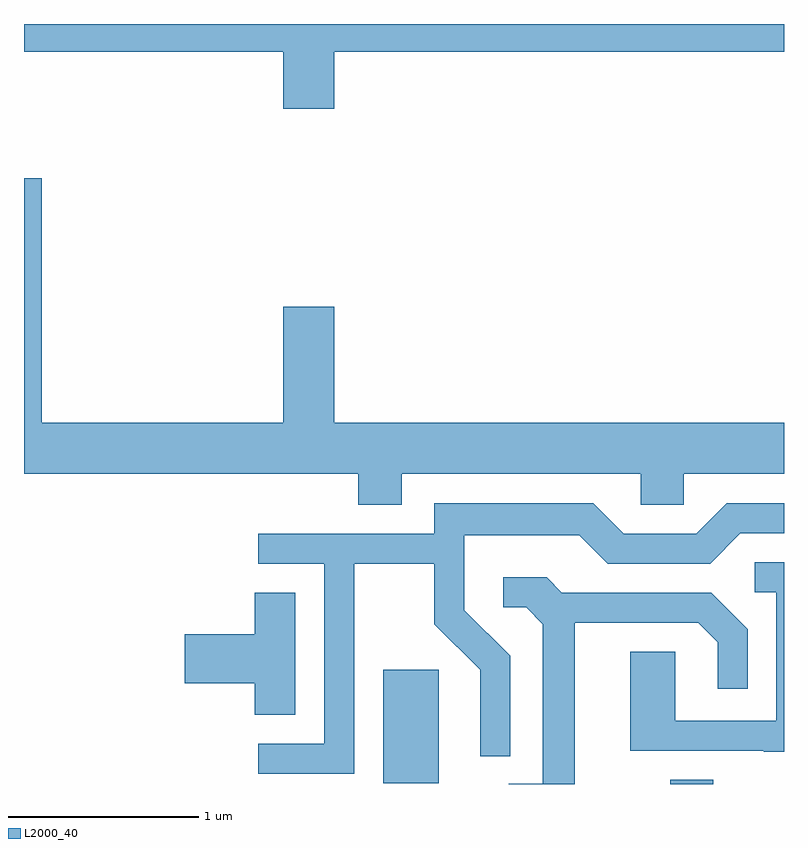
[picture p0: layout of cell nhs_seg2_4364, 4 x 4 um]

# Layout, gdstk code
import gdstk
lib = gdstk.Library(unit=1e-6, precision=1e-09)
def R(c, l, rs):  # rectangles x0, y0, x1, y1
    for r in rs: c.add(gdstk.rectangle(r[:2], r[2:], *l))
def P(c, l, *ps):  # polygons
    for p in ps: c.add(gdstk.Polygon(p, *l))
L2000_40 = (2000, 40)

nhs_seg2_4364 = lib.new_cell('nhs_seg2_4364')
R(nhs_seg2_4364, L2000_40, [(317.011,1037.802,317.239,1037.824), (315.501,1037.806,315.794,1038.404)])
P(nhs_seg2_4364, L2000_40, [(315.244,1041.656),(317.611,1041.656),(317.611,1041.802),(313.611,1041.802),(313.611,1041.656),(314.976,1041.656),(314.976,1041.356),(315.244,1041.356)],
  [(315.599,1039.436),(316.856,1039.436),(316.856,1039.271),(317.084,1039.271),(317.084,1039.436),(317.611,1039.436),(317.611,1039.704),(315.244,1039.704),(315.244,1040.314),(314.976,1040.314),(314.976,1039.704),(313.704,1039.704),(313.704,1040.989),(313.611,1040.989),(313.611,1039.436),(315.371,1039.436),(315.371,1039.271),(315.599,1039.271)],
  [(315.349,1038.961),(315.771,1038.961),(315.771,1038.644),(316.011,1038.404),(316.011,1037.948),(316.169,1037.948),(316.169,1038.477),(315.929,1038.717),(315.929,1039.111),(316.534,1039.111),(316.684,1038.961),(317.222,1038.961),(317.382,1039.121),(317.611,1039.121),(317.611,1039.279),(317.309,1039.279),(317.149,1039.119),(316.767,1039.119),(316.607,1039.279),(315.771,1039.279),(315.771,1039.119),(314.843,1039.119),(314.843,1038.961),(315.191,1038.961),(315.191,1038.014),(314.843,1038.014),(314.843,1037.856),(315.349,1037.856)],
  [(317.611,1038.969),(317.458,1038.969),(317.458,1038.811),(317.571,1038.811),(317.571,1038.134),(317.039,1038.134),(317.039,1038.499),(316.801,1038.499),(316.801,1037.976),(317.505,1037.976),(317.505,1037.971),(317.611,1037.971)],
  [(316.509,1038.651),(317.159,1038.651),(317.261,1038.549),(317.261,1038.303),(317.419,1038.303),(317.419,1038.617),(317.227,1038.809),(316.442,1038.809),(316.362,1038.889),(316.133,1038.889),(316.133,1038.731),(316.254,1038.731),(316.341,1038.644),(316.341,1037.804),(316.163,1037.804),(316.163,1037.802),(316.509,1037.802)],
  [(315.039,1038.809),(314.826,1038.809),(314.826,1038.589),(314.456,1038.589),(314.456,1038.331),(314.826,1038.331),(314.826,1038.166),(315.039,1038.166)])

lib.write_gds('nhs_seg2_4364.gds')
